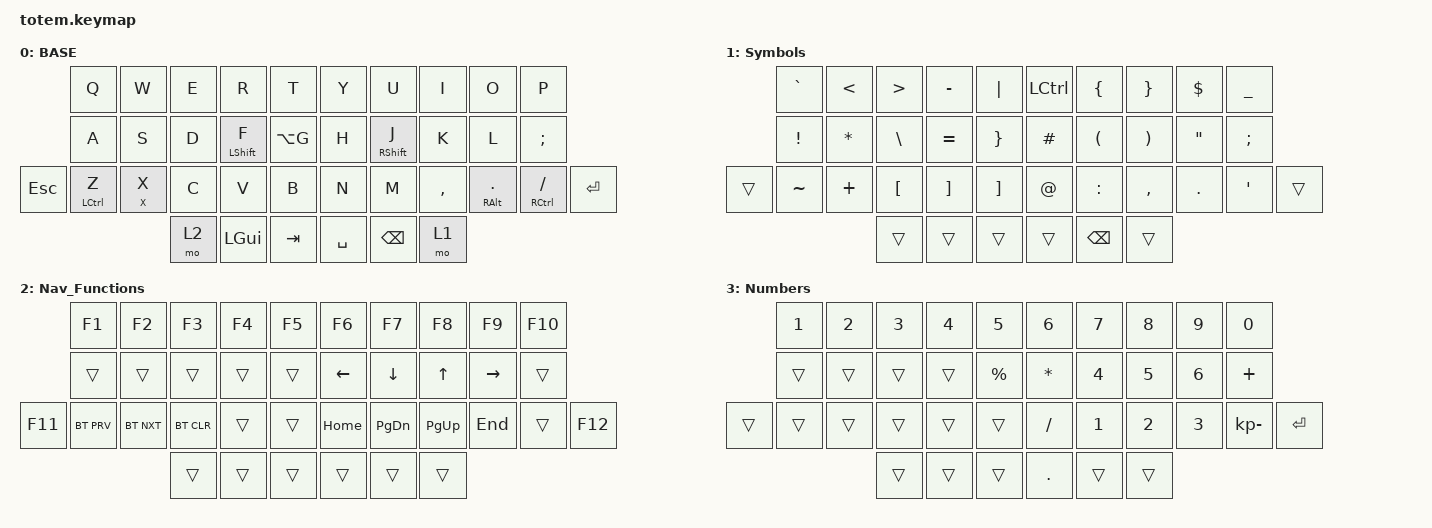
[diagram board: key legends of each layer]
//
//                                                        ▀▀▀▀▀     ▀▀▀▀▀          ▀▀█▀▀
//                                                        ▄▀▀▀▄  ▄  ▄▀▀▀▄  ▄  ▄▀▀▀▄  █  ▄▀▀▀▄
//                                                        █   █  █  █   █  █  █   █  █  █   █
//                                                         ▀▀▀   █   ▀▀▀   █   ▀▀▀   ▀   ▀▀▀
//                                                               █      ▄▄▄█▄▄▄    █   █  
//                                                               ▀      █  █  █     █▄█
//                                                             ▀▀▀▀▀    █  █  █      ▀
//                                                                      ▀  ▀  ▀
//
// ▄▄▄▄▄▄▄▄▄▄▄▄▄▄▄▄▄▄▄▄▄▄▄▄▄▄▄▄▄▄▄▄▄▄▄▄▄▄▄▄▄▄▄▄▄▄▄▄▄▄▄▄▄▄▄▄▄▄▄▄▄▄▄▄▄▄▄▄▄▄▄▄▄▄▄▄▄▄▄▄▄▄▄▄▄▄▄▄▄▄▄▄▄▄▄▄▄▄▄▄▄▄▄▄▄▄▄▄▄▄▄▄▄▄▄▄▄▄▄▄▄▄▄▄▄▄▄▄▄▄▄▄▄▄▄▄▄▄▄▄▄▄▄▄▄▄▄▄▄

#include <behaviors.dtsi>
#include <dt-bindings/zmk/bt.h>
#include <dt-bindings/zmk/keys.h>

#define BASE 0
#define NAV  1
#define SYM  2
#define ADJ  3
#define TVP1 4
#define TVP2 5

&mt {
    global-quick-tap;
    flavor = "tap-preferred";
};

/ {
    combos {
        compatible = "zmk,combos";

        bt {
            bindings = <&bt BT_CLR>;
            key-positions = <3 4>;
        };

        btnzt {
            bindings = <&bt BT_NXT>;
            key-positions = <14 13>;
        };

        bt-clearall {
            bindings = <&bt BT_CLR_ALL>;
            key-positions = <2 3 4>;
        };

        caps {
            bindings = <&kp CAPSLOCK>;
            key-positions = <34 35>;
        };

        toggle_nums {
            bindings = <&tog 3>;
            key-positions = <32 37>;
        };
    };

    keymap {
        compatible = "zmk,keymap";

        // ▄▄▄▄▄▄▄▄▄▄▄▄▄▄▄▄▄▄▄▄▄▄▄▄▄▄▄▄▄▄▄▄▄▄▄▄▄▄▄▄▄▄▄▄▄▄▄▄▄▄▄▄▄▄▄▄▄▄▄▄▄▄▄▄▄▄▄▄▄▄▄▄▄▄▄▄▄▄▄▄▄▄▄▄▄▄▄▄▄▄▄▄▄▄▄▄▄▄▄▄▄▄▄▄▄▄▄▄▄▄▄▄▄▄▄▄▄▄▄▄▄▄▄▄▄▄▄▄▄▄▄▄▄▄▄▄▄▄▄▄▄▄▄▄▄▄▄▄▄

        base_layer {
            // ┏━━━━━━━━━━━━━━━━━━━━━━━━━━━━━━━━━━━━━━━┓

            label = "BASE";

            // ┗━━━━━━━━━━━━━━━━━━━━━━━━━━━━━━━━━━━━━━━┛
            //             ┏━━━━━━━━━━━┳━━━━━━━━━━━┳━━━━━━━━━━━┳━━━━━━━━━━━┳━━━━━━━━━━━┓   ┏━━━━━━━━━━━┳━━━━━━━━━━━┳━━━━━━━━━━━┳━━━━━━━━━━━┳━━━━━━━━━━━┓
            //             ┃     Q     ┃     W     ┃     F     ┃     P     ┃     G     ┃   ┃     J     ┃     L     ┃     U     ┃     Y     ┃     ;     ┃
            //             ┣━━━━━━━━━━━╋━━━━━━━━━━━╋━━━━━━━━━━━╋━━━━━━━━━━━╋━━━━━━━━━━━┫   ┣━━━━━━━━━━━╋━━━━━━━━━━━╋━━━━━━━━━━━╋━━━━━━━━━━━╋━━━━━━━━━━━┫
            //             ┃     A     ┃     R     ┃     S     ┃     T     ┃     D     ┃   ┃     H     ┃     N     ┃     E     ┃     I     ┃     O     ┃
            // ┏━━━━━━━━━━━╋━━━━━━━━━━━╋━━━━━━━━━━━╋━━━━━━━━━━━╋━━━━━━━━━━━╋━━━━━━━━━━━┫   ┣━━━━━━━━━━━╋━━━━━━━━━━━╋━━━━━━━━━━━╋━━━━━━━━━━━╋━━━━━━━━━━━╋━━━━━━━━━━━┓
            // ┃     Q     ┃     Z     ┃     X     ┃     C     ┃     V     ┃     B     ┃   ┃     K     ┃     M     ┃     ,     ┃     .     ┃     /     ┃     \     ┃
            // ┗━━━━━━━━━━━┻━━━━━━━━━━━┻━━━━━━━━━━━╋━━━━━━━━━━━╋━━━━━━━━━━━╋━━━━━━━━━━━┫   ┣━━━━━━━━━━━╋━━━━━━━━━━━╋━━━━━━━━━━━╋━━━━━━━━━━━┻━━━━━━━━━━━┻━━━━━━━━━━━┛
            //                                     ┃    DEL    ┃    TAB    ┃    SPC    ┃   ┃   ENTER   ┃           ┃   BSPC    ┃
            //                                     ┗━━━━━━━━━━━┻━━━━━━━━━━━┻━━━━━━━━━━━┛   ┗━━━━━━━━━━━┻━━━━━━━━━━━┻━━━━━━━━━━━┛

            bindings = <
            &kp Q        &kp W    &kp E  &kp R         &kp T        &kp Y      &kp U          &kp I      &kp O              &kp P
            &kp A        &kp S    &kp D  &mt LSHFT F   &kp LA(G)    &kp H      &mt RSHFT J    &kp K      &kp L              &kp SEMI
&kp ESCAPE  &mt LCTRL Z  &mt X X  &kp C  &kp V         &kp B        &kp N      &kp M          &kp COMMA  &mt RIGHT_ALT DOT  &mt RCTRL FSLH  &kp ENTER
                                  &mo 2  &kp LEFT_GUI  &kp TAB      &kp SPACE  &kp BACKSPACE  &mo 1
            >;
        };

        Symbols {
            bindings = <
        &kp GRAVE        &kp LESS_THAN  &kp GREATER_THAN  &kp MINUS          &kp PIPE    &kp LCTRL    &kp LEFT_BRACE        &kp RIGHT_BRACE        &kp DOLLAR         &kp UNDERSCORE
        &kp EXCLAMATION  &kp ASTERISK   &kp BACKSLASH     &kp EQUAL          &kp RBRC    &kp HASH     &kp LEFT_PARENTHESIS  &kp RIGHT_PARENTHESIS  &kp DOUBLE_QUOTES  &kp SEMICOLON
&trans  &kp TILDE        &kp PLUS       &kp LEFT_BRACKET  &kp RIGHT_BRACKET  &kp RBKT    &kp AT_SIGN  &kp COLON             &kp COMMA              &kp PERIOD         &kp SQT         &trans
                                        &trans            &trans             &trans      &trans       &kp BSPC              &trans
            >;
        };

        Nav_Functions {
            bindings = <
         &kp F1      &kp F2      &kp F3      &kp F4  &kp F5    &kp F6    &kp F7     &kp F8     &kp F9     &kp F10
         &trans      &trans      &trans      &trans  &trans    &kp LEFT  &kp DOWN   &kp UP     &kp RIGHT  &trans
&kp F11  &bt BT_PRV  &bt BT_NXT  &bt BT_CLR  &trans  &trans    &kp HOME  &kp PG_DN  &kp PG_UP  &kp END    &trans   &kp F12
                                 &trans      &trans  &trans    &trans    &trans     &trans
            >;
        };

        Numbers {
            bindings = <
        &kp NUMBER_1  &kp NUMBER_2  &kp NUMBER_3  &kp NUMBER_4  &kp NUMBER_5    &kp NUMBER_6  &kp NUMBER_7  &kp NUMBER_8  &kp NUMBER_9  &kp NUMBER_0
        &trans        &trans        &trans        &trans        &kp PERCENT     &kp ASTRK     &kp NUMBER_4  &kp NUMBER_5  &kp NUMBER_6  &kp PLUS
&trans  &trans        &trans        &trans        &trans        &trans          &kp FSLH      &kp NUMBER_1  &kp NUMBER_2  &kp NUMBER_3  &kp KP_SUBTRACT  &kp ENTER
                                    &trans        &trans        &trans          &kp PERIOD    &trans        &trans
            >;
        };

        // ▄▄▄▄▄▄▄▄▄▄▄▄▄▄▄▄▄▄▄▄▄▄▄▄▄▄▄▄▄▄▄▄▄▄▄▄▄▄▄▄▄▄▄▄▄▄▄▄▄▄▄▄▄▄▄▄▄▄▄▄▄▄▄▄▄▄▄▄▄▄▄▄▄▄▄▄▄▄▄▄▄▄▄▄▄▄▄▄▄▄▄▄▄▄▄▄▄▄▄▄▄▄▄▄▄▄▄▄▄▄▄▄▄▄▄▄▄▄▄▄▄▄▄▄▄▄▄▄▄▄▄▄▄▄▄▄▄▄▄▄▄▄▄▄▄▄▄▄▄
        // ▄▄▄▄▄▄▄▄▄▄▄▄▄▄▄▄▄▄▄▄▄▄▄▄▄▄▄▄▄▄▄▄▄▄▄▄▄▄▄▄▄▄▄▄▄▄▄▄▄▄▄▄▄▄▄▄▄▄▄▄▄▄▄▄▄▄▄▄▄▄▄▄▄▄▄▄▄▄▄▄▄▄▄▄▄▄▄▄▄▄▄▄▄▄▄▄▄▄▄▄▄▄▄▄▄▄▄▄▄▄▄▄▄▄▄▄▄▄▄▄▄▄▄▄▄▄▄▄▄▄▄▄▄▄▄▄▄▄▄▄▄▄▄▄▄▄▄▄▄
    };
};
